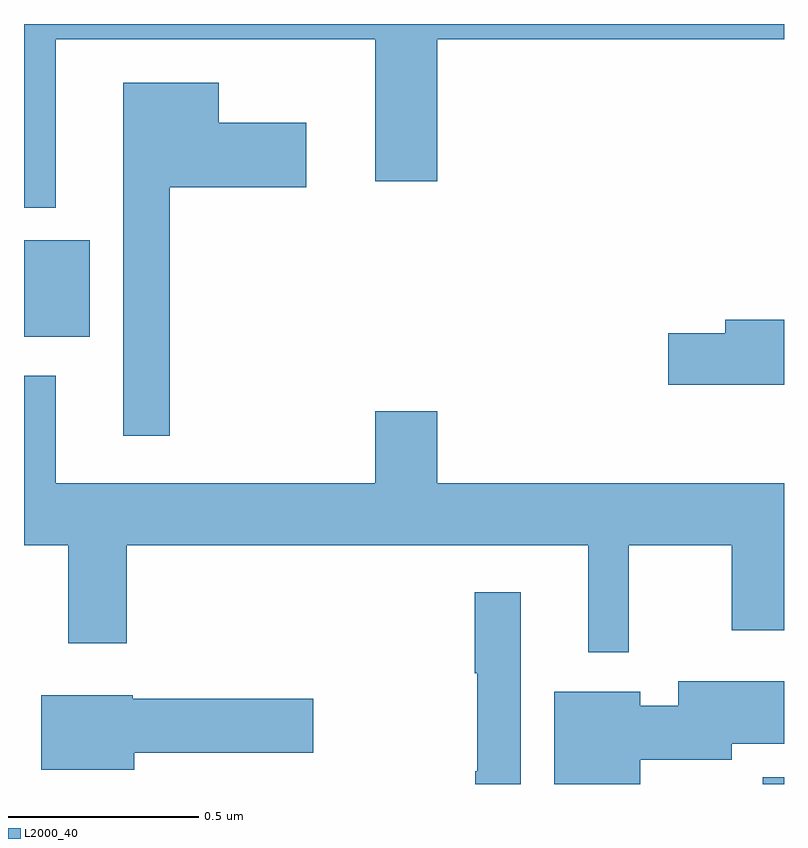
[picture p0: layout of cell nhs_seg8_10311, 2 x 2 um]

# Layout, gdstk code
import gdstk
lib = gdstk.Library(unit=1e-6, precision=1e-09)
def R(c, l, rs):  # rectangles x0, y0, x1, y1
    for r in rs: c.add(gdstk.rectangle(r[:2], r[2:], *l))
def P(c, l, *ps):  # polygons
    for p in ps: c.add(gdstk.Polygon(p, *l))
L2000_40 = (2000, 40)

nhs_seg8_10311 = lib.new_cell('nhs_seg8_10311')
R(nhs_seg8_10311, L2000_40, [(249.944,1087.9,250,1087.918), (248,1089.077,248.173,1089.331)])
P(nhs_seg8_10311, L2000_40, [(248.083,1089.86),(248.924,1089.86),(248.924,1089.486),(249.088,1089.486),(249.088,1089.86),(250,1089.86),(250,1089.9),(248,1089.9),(248,1089.416),(248.083,1089.416)],
  [(248.383,1089.47),(248.743,1089.47),(248.743,1089.64),(248.512,1089.64),(248.512,1089.745),(248.261,1089.745),(248.261,1088.817),(248.383,1088.817)],
  [(250,1089.122),(249.845,1089.122),(249.845,1089.086),(249.696,1089.086),(249.696,1088.951),(250,1088.951)],
  [(249.592,1088.528),(249.863,1088.528),(249.863,1088.304),(250,1088.304),(250,1088.692),(249.088,1088.692),(249.088,1088.881),(248.924,1088.881),(248.924,1088.692),(248.083,1088.692),(248.083,1088.974),(248,1088.974),(248,1088.528),(248.117,1088.528),(248.117,1088.271),(248.27,1088.271),(248.27,1088.528),(249.485,1088.528),(249.485,1088.247),(249.592,1088.247)],
  [(249.307,1088.404),(249.186,1088.404),(249.186,1088.191),(249.193,1088.191),(249.193,1087.934),(249.188,1087.934),(249.188,1087.9),(249.307,1087.9)],
  [(249.622,1087.964),(249.862,1087.964),(249.862,1088.006),(250,1088.006),(250,1088.17),(249.722,1088.17),(249.722,1088.106),(249.622,1088.106),(249.622,1088.143),(249.395,1088.143),(249.395,1087.9),(249.622,1087.9)],
  [(248.29,1087.982),(248.761,1087.982),(248.761,1088.124),(248.286,1088.124),(248.286,1088.134),(248.045,1088.134),(248.045,1087.937),(248.29,1087.937)])

lib.write_gds('nhs_seg8_10311.gds')
